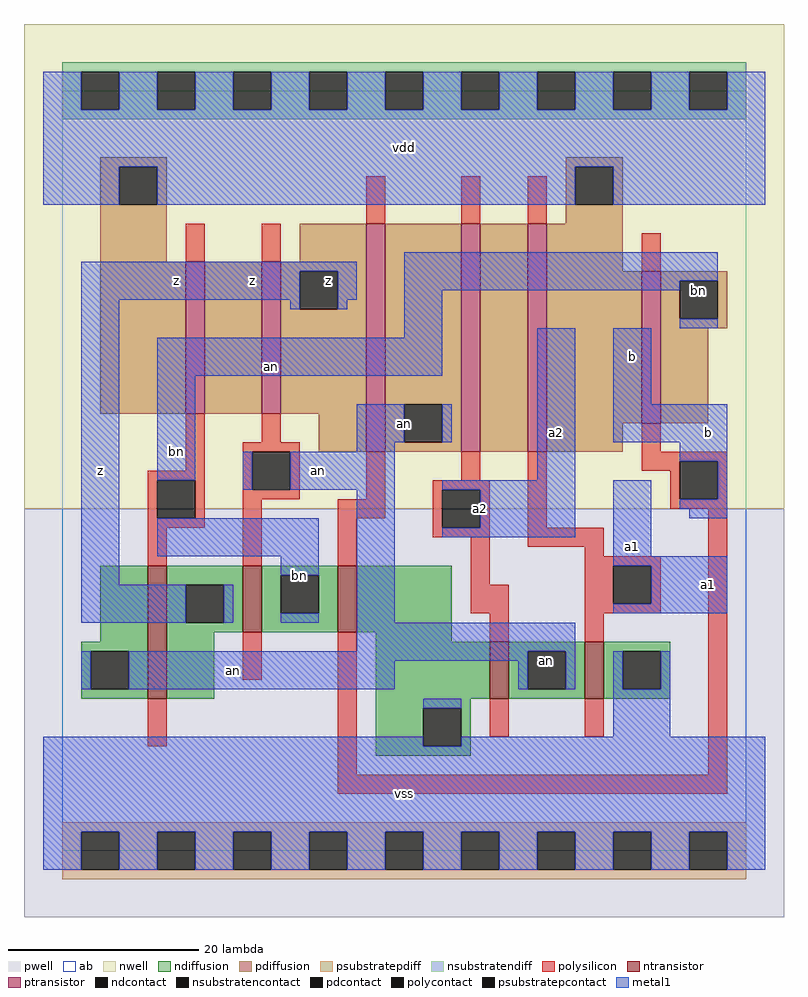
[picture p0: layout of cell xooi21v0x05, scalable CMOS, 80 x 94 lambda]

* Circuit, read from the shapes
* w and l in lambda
.subckt xooi21v0x05 a1 a2 an b bn vdd vss z
M1 z bn an vss nfet w=14 l=2
M2 bn an z vss nfet w=7 l=2
M3 vss b bn vss nfet w=7 l=2
M4 an a2 vss vss nfet w=6 l=2
M5 vss a1 an vss nfet w=6 l=2
M6 n1 bn vdd vdd pfet w=16 l=2
M7 z an n1 vdd pfet w=16 l=2
M8 an b z vdd pfet w=24 l=2
M9 n2 a2 an vdd pfet w=24 l=2
M10 vdd a1 n2 vdd pfet w=24 l=2
M11 bn b vdd vdd pfet w=16 l=2
.ends

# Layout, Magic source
magic
tech scmos
<< ab >>
rect 0 0 72 80
<< pwell >>
rect -4 -7 76 36
<< nwell >>
rect -4 36 76 87
<< polysilicon >>
rect 32 66 34 71
rect 42 66 44 71
rect 49 66 51 71
rect 13 62 15 66
rect 21 62 23 66
rect 13 40 15 46
rect 21 43 23 46
rect 9 39 15 40
rect 9 35 10 39
rect 14 35 15 39
rect 9 34 15 35
rect 19 42 25 43
rect 61 61 63 65
rect 61 42 63 45
rect 19 38 20 42
rect 24 38 25 42
rect 19 37 25 38
rect 32 37 34 42
rect 42 39 44 42
rect 9 30 11 34
rect 19 30 21 37
rect 29 35 34 37
rect 39 38 45 39
rect 29 30 31 35
rect 39 34 40 38
rect 44 34 45 38
rect 39 33 45 34
rect 43 28 45 33
rect 49 34 51 42
rect 61 41 70 42
rect 61 40 65 41
rect 64 37 65 40
rect 69 37 70 41
rect 64 36 70 37
rect 49 32 57 34
rect 55 31 57 32
rect 55 30 63 31
rect 43 25 47 28
rect 19 18 21 23
rect 9 11 11 16
rect 29 8 31 23
rect 45 22 47 25
rect 55 26 58 30
rect 62 26 63 30
rect 55 25 63 26
rect 55 22 57 25
rect 45 12 47 16
rect 55 12 57 16
rect 68 8 70 36
rect 29 6 70 8
<< ndiffusion >>
rect 4 22 9 30
rect 2 21 9 22
rect 2 17 3 21
rect 7 17 9 21
rect 2 16 9 17
rect 11 28 19 30
rect 11 24 13 28
rect 17 24 19 28
rect 11 23 19 24
rect 21 29 29 30
rect 21 25 23 29
rect 27 25 29 29
rect 21 23 29 25
rect 31 23 41 30
rect 11 16 16 23
rect 33 22 41 23
rect 33 16 45 22
rect 47 21 55 22
rect 47 17 49 21
rect 53 17 55 21
rect 47 16 55 17
rect 57 21 64 22
rect 57 17 59 21
rect 63 17 64 21
rect 57 16 64 17
rect 33 15 43 16
rect 33 11 38 15
rect 42 11 43 15
rect 33 10 43 11
<< pdiffusion >>
rect 4 72 11 73
rect 4 68 6 72
rect 10 68 11 72
rect 53 72 59 73
rect 4 62 11 68
rect 53 68 54 72
rect 58 68 59 72
rect 53 66 59 68
rect 25 62 32 66
rect 4 46 13 62
rect 15 46 21 62
rect 23 61 32 62
rect 23 57 25 61
rect 29 57 32 61
rect 23 46 32 57
rect 27 42 32 46
rect 34 47 42 66
rect 34 43 36 47
rect 40 43 42 47
rect 34 42 42 43
rect 44 42 49 66
rect 51 61 59 66
rect 51 45 61 61
rect 63 60 70 61
rect 63 56 65 60
rect 69 56 70 60
rect 63 55 70 56
rect 63 45 68 55
rect 51 42 59 45
<< metal1 >>
rect -2 78 2 82
rect 6 78 10 82
rect 14 78 18 82
rect 22 78 26 82
rect 30 78 34 82
rect 38 78 42 82
rect 46 78 50 82
rect 54 78 58 82
rect 62 78 66 82
rect 70 78 74 82
rect -2 72 74 78
rect -2 68 6 72
rect 10 68 54 72
rect 58 68 74 72
rect 2 61 31 62
rect 2 58 25 61
rect 2 28 6 58
rect 24 57 25 58
rect 29 58 31 61
rect 36 60 69 63
rect 36 59 65 60
rect 29 57 30 58
rect 36 54 40 59
rect 65 55 69 56
rect 10 50 40 54
rect 10 39 14 50
rect 31 43 36 47
rect 40 43 41 47
rect 31 42 35 43
rect 19 38 20 42
rect 24 38 35 42
rect 50 39 54 55
rect 58 47 62 55
rect 58 43 70 47
rect 65 41 70 43
rect 10 31 27 35
rect 23 29 27 31
rect 2 24 13 28
rect 17 24 18 28
rect 23 24 27 25
rect 31 24 35 38
rect 40 38 54 39
rect 44 34 54 38
rect 40 33 54 34
rect 58 31 62 39
rect 69 37 70 41
rect 65 36 70 37
rect 66 35 70 36
rect 58 30 70 31
rect 62 26 70 30
rect 58 25 70 26
rect 31 21 54 24
rect 2 17 3 21
rect 7 20 49 21
rect 7 17 35 20
rect 48 17 49 20
rect 53 17 54 21
rect 58 17 59 21
rect 63 17 64 21
rect 38 15 42 16
rect -2 11 38 12
rect 58 12 64 17
rect 42 11 74 12
rect -2 2 74 11
rect -2 -2 2 2
rect 6 -2 10 2
rect 14 -2 18 2
rect 22 -2 26 2
rect 30 -2 34 2
rect 38 -2 42 2
rect 46 -2 50 2
rect 54 -2 58 2
rect 62 -2 66 2
rect 70 -2 74 2
<< ntransistor >>
rect 9 16 11 30
rect 19 23 21 30
rect 29 23 31 30
rect 45 16 47 22
rect 55 16 57 22
<< ptransistor >>
rect 13 46 15 62
rect 21 46 23 62
rect 32 42 34 66
rect 42 42 44 66
rect 49 42 51 66
rect 61 45 63 61
<< polycontact >>
rect 10 35 14 39
rect 20 38 24 42
rect 40 34 44 38
rect 65 37 69 41
rect 58 26 62 30
<< ndcontact >>
rect 3 17 7 21
rect 13 24 17 28
rect 23 25 27 29
rect 49 17 53 21
rect 59 17 63 21
rect 38 11 42 15
<< pdcontact >>
rect 6 68 10 72
rect 54 68 58 72
rect 25 57 29 61
rect 36 43 40 47
rect 65 56 69 60
<< psubstratepcontact >>
rect 2 -2 6 2
rect 10 -2 14 2
rect 18 -2 22 2
rect 26 -2 30 2
rect 34 -2 38 2
rect 42 -2 46 2
rect 50 -2 54 2
rect 58 -2 62 2
rect 66 -2 70 2
<< nsubstratencontact >>
rect 2 78 6 82
rect 10 78 14 82
rect 18 78 22 82
rect 26 78 30 82
rect 34 78 38 82
rect 42 78 46 82
rect 50 78 54 82
rect 58 78 62 82
rect 66 78 70 82
<< psubstratepdiff >>
rect 0 2 72 3
rect 0 -2 2 2
rect 6 -2 10 2
rect 14 -2 18 2
rect 22 -2 26 2
rect 30 -2 34 2
rect 38 -2 42 2
rect 46 -2 50 2
rect 54 -2 58 2
rect 62 -2 66 2
rect 70 -2 72 2
rect 0 -3 72 -2
<< nsubstratendiff >>
rect 0 82 72 83
rect 0 78 2 82
rect 6 78 10 82
rect 14 78 18 82
rect 22 78 26 82
rect 30 78 34 82
rect 38 78 42 82
rect 46 78 50 82
rect 54 78 58 82
rect 62 78 66 82
rect 70 78 72 82
rect 0 77 72 78
<< labels >>
rlabel ptransistor 22 51 22 51 6 an
rlabel metal1 4 40 4 40 6 z
rlabel metal1 25 29 25 29 6 bn
rlabel metal1 12 42 12 42 6 bn
rlabel metal1 12 60 12 60 6 z
rlabel metal1 20 60 20 60 6 z
rlabel metal1 36 6 36 6 6 vss
rlabel metal1 18 19 18 19 6 an
rlabel metal1 27 40 27 40 6 an
rlabel metal1 36 45 36 45 6 an
rlabel pdcontact 28 60 28 60 6 z
rlabel metal1 36 74 36 74 6 vdd
rlabel ndcontact 51 20 51 20 6 an
rlabel metal1 44 36 44 36 6 a2
rlabel metal1 52 44 52 44 6 a2
rlabel metal1 68 28 68 28 6 a1
rlabel metal1 60 32 60 32 6 a1
rlabel metal1 68 44 68 44 6 b
rlabel metal1 60 52 60 52 6 b
rlabel pdcontact 67 59 67 59 6 bn
<< end >>
